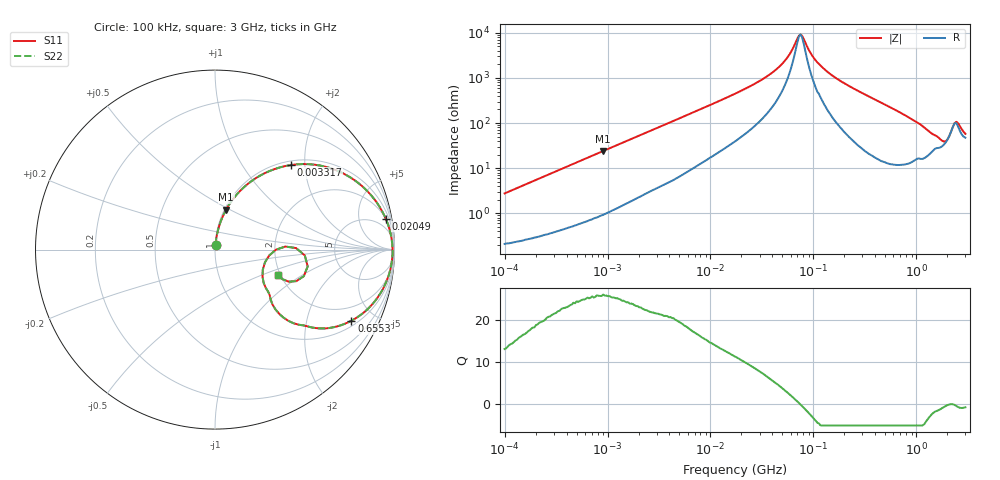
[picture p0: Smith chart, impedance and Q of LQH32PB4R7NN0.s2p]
!Murata Part Number: LQH32PB4R7_N0
!These Parameters are Measured in Series Mode Connection
! o--[L]--o
!Port1 Port2
! o-------o
# Hz S RI R 50
!Freq.(Hz) S11(Real) S11(Imag) S21(Real) S21(Imag) S12(Real) S12(Imag) S22(Real) S22(Imag)
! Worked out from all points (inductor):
!   284 points, 100 kHz to 3 GHz, reference 50 ohm
!   read as one part in series: L = 4.35 uH near 103.6 kHz
!   highest Q = 25.8 at 907.9 kHz (marker M1), where L = 4.2 uH
!   self-resonance near 72.26 MHz
!   S11 on the Smith chart (normalised r, x): 100 kHz: 1.00, +0.05; 3.317 MHz: 1.08, +1.70; 20.49 MHz: 2, +11; 655.3 MHz: 1.23, -3.69; 3 GHz: 1.95, -0.66
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100000  0.00283 0.0273  0.9972 -0.0273  0.9972 -0.0273  0.00283 0.0273
575901  0.0286 0.1479  0.9714 -0.1479  0.9714 -0.1479  0.0286 0.1479
907901  0.062 0.2227  0.938 -0.2227  0.938 -0.2227  0.062 0.2227
3202502  0.4073 0.4685  0.5927 -0.4685  0.5927 -0.4685  0.4073 0.4685
3316625  0.4232 0.4712  0.5768 -0.4712  0.5768 -0.4712  0.4232 0.4712
7959219  0.7883 0.3788  0.2117 -0.3788  0.2117 -0.3788  0.7883 0.3788
1.780863e7  0.9389 0.1992  0.0611 -0.1992  0.0611 -0.1992  0.9389 0.1992
2.048606e7  0.951 0.173  0.049 -0.173  0.049 -0.173  0.951 0.173
4.747069e7  0.9852 0.0513  0.0148 -0.0513  0.0148 -0.0513  0.9852 0.0513
5.856894e7  0.9878 0.0272  0.0122 -0.0272  0.0122 -0.0272  0.9878 0.0272
7.483695e7  0.9893 -4.37e-05  0.0107 4.37e-05  0.0107 4.37e-05  0.9893 -4.37e-05
9.903114e7  0.9888 -0.0316  0.0112 0.0316  0.0112 0.0316  0.9888 -0.0316
1.748812e8  0.9782 -0.105  0.0218 0.105  0.0218 0.105  0.9782 -0.105
5.583748e8  0.8207 -0.3572  0.1793 0.3572  0.1793 0.3572  0.8207 -0.3572
6.553423e8  0.7598 -0.3966  0.2402 0.3966  0.2402 0.3966  0.7598 -0.3966
9.779672e8  0.536 -0.4332  0.464 0.4332  0.464 0.4332  0.536 -0.4332
1.402151e9  0.3199 -0.3049  0.6801 0.3049  0.6801 0.3049  0.3199 -0.3049
1.855641e9  0.2665 -0.1114  0.7335 0.1114  0.7335 0.1114  0.2665 -0.1114
2.177892e9  0.3919 0.0171  0.6081 -0.0171  0.6081 -0.0171  0.3919 0.0171
2.455801e9  0.5164 -0.0938  0.4836 0.0938  0.4836 0.0938  0.5164 -0.0938
2.660507e9  0.4533 -0.1757  0.5467 0.1757  0.5467 0.1757  0.4533 -0.1757
3e9  0.3535 -0.1442  0.6465 0.1442  0.6465 0.1442  0.3535 -0.1442
